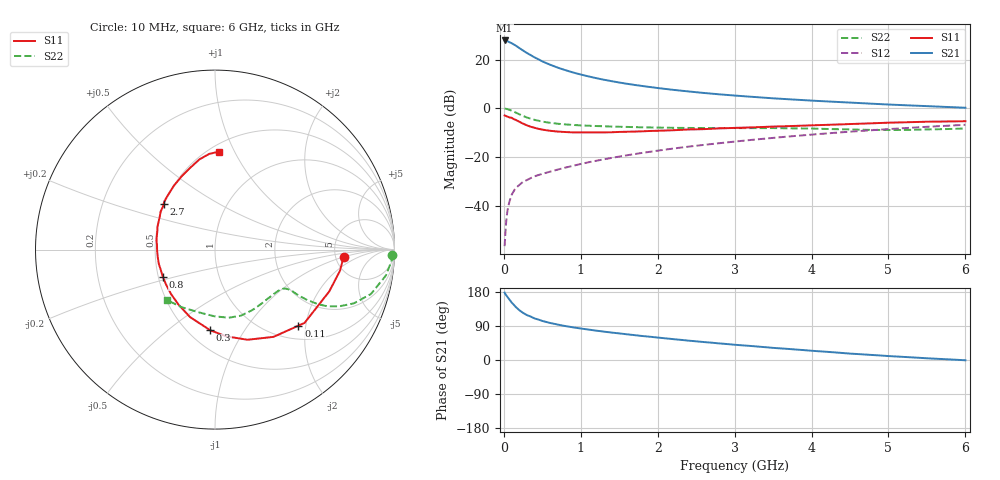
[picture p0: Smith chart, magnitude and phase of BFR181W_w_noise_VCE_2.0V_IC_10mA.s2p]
! Infineon Technologies  Discrete & RF Semiconductors
! BFR181W
! VCE =  2.0 V,  IC =  10 mA
! Common Emitter S-Parameters:  Jan 2017
# GHz  S  MA  R  50
!  f  S11  S21  S12  S22
! GHz  MAG  ANG  MAG  ANG  MAG  ANG  MAG  ANG
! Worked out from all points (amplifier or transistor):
!   77 points, 10 MHz to 6 GHz, reference 50 ohm
!   highest |S21| = 27.9 dB at 10 MHz (marker M1)
!   |S21| within 3 dB of that: start of sweep to 196.1 MHz
!   unconditionally stable (mu >= 1): 851.8 MHz to 2.829 GHz
!   at 130 MHz: K = 0.29, MSG = 30.0 dB, |S12| = -33.9 dB
!   at 2.2 GHz: K = 1.06, MAG = 10.6 dB, |S12| = -16.5 dB
!   at 6 GHz: K = 0.84, MSG = 3.5 dB, |S12| = -6.7 dB
!   lowest NFmin = 1.24 dB at 450 MHz
!   S11 on the Smith chart (normalised r, x): 10 MHz: 5.89, -1.03; 110 MHz: 1.30, -1.82; 300 MHz: 0.64, -0.72; 800 MHz: 0.53, -0.18; 2.7 GHz: 0.50, +0.29; 6 GHz: 0.56, +0.87
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0.01  0.7172 -3.4  24.72 177.9  0.0015 83.1  0.9865 -1.6
0.02  0.7064 -9.6  24.62 173.9  0.0027 91.3  0.9876 -3.2
0.05  0.6777 -20.2  23.75 165.5  0.0085 79.9  0.9631 -8.6
0.1  0.6447 -39.3  21.86 151.9  0.0167 74.8  0.9032 -15.9
0.11  0.6287 -42.4  21.35 149.9  0.0179 72.8  0.8877 -16.9
0.15  0.5852 -56.2  19.61 140.9  0.0228 67.0  0.8288 -21.2
0.2  0.5342 -70.1  17.33 131.6  0.0269 63.8  0.7599 -24.6
0.25  0.4871 -82.7  15.38 124.3  0.0313 61.1  0.7007 -26.8
0.3  0.45 -93.4  13.66 118.5  0.034 60.2  0.6507 -27.9
0.4  0.4006 -110.4  11.1 109.6  0.0406 59.4  0.582 -28.7
0.5  0.3673 -123.8  9.217 103.1  0.0456 60.1  0.5369 -28.8
0.6  0.348 -134.9  7.883 97.8  0.0504 60.8  0.5064 -28.5
0.8  0.3279 -152.5  6.086 89.5  0.0612 64.2  0.4698 -28.3
0.9  0.3226 -159.4  5.447 86.2  0.0667 64.6  0.4583 -28.6
1.1  0.3218 -171.0  4.532 80.3  0.0786 66.4  0.4418 -29.5
1.5  0.3295 171.4  3.394 70.2  0.103 67.7  0.4206 -33.1
2.1  0.3522 152.6  2.508 57.2  0.1432 67.7  0.4024 -42.2
2.7  0.3825 138.5  2.009 45.7  0.1861 65.7  0.3959 -53.5
3.1  0.4027 130.0  1.787 38.7  0.2167 63.7  0.3946 -61.2
4.1  0.4549 112.5  1.418 23.0  0.2987 56.8  0.3828 -81.0
5.1  0.514 98.6  1.183 9.3  0.3847 47.8  0.3609 -108.2
6  0.5469 87.6  1.032 -0.7  0.4616 38.5  0.3883 -133.7
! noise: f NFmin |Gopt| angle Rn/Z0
0.45  1.24  0.15  16  0.21
0.9  1.29  0.14  31  0.21
1.9  1.71  0.03  142  0.2
2.4  1.88  0.02  -166  0.24
